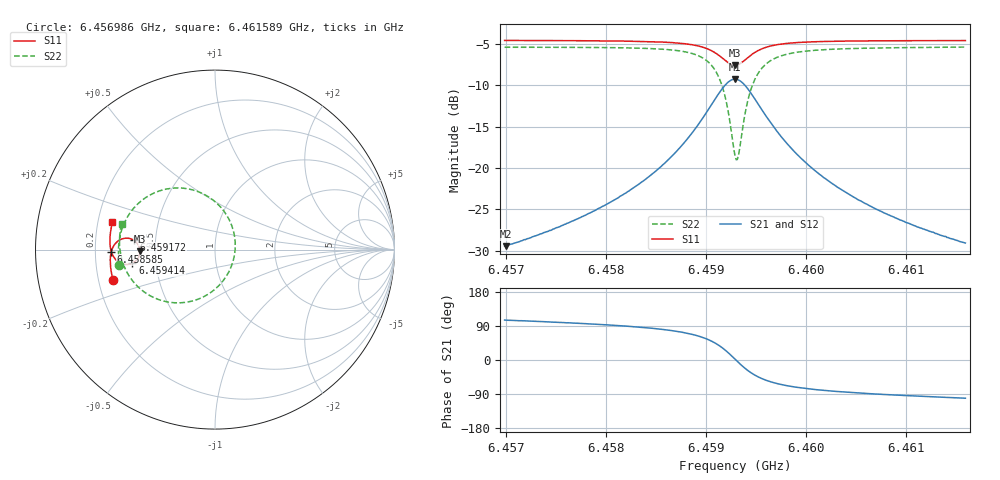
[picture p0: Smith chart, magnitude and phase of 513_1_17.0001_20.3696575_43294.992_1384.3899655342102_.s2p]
#  HZ  S  RI  R  50.00
! Rohde & Schwarz Vector Network Analyzer
! Rohde-Schwarz,ZNB20-2Port,1311601062101988,3.16
! Created: UTC 3/20/2024, 11:15:04 PM
! freq[Hz]  re:S11  im:S11  re:S21  im:S21  re:S12  im:S12  re:S22  im:S22
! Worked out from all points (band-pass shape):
!   401 points, 6.456986 GHz to 6.461589 GHz, reference 50 ohm
!   highest |S21| = -9.23 dB at 6.459287 GHz (marker M1); lowest = -29.5 dB at 6.456997 GHz (marker M2)
!   |S21| within 3 dB of the highest: 6.459058 GHz to 6.459518 GHz (460.3 kHz wide, 0.00713 % of centre)
!   lowest |S11| = -7.6 dB at 6.459287 GHz (marker M3), VSWR 2.44, Z = 20.5 - j0.476 ohm
!   |S11| at or under -10 dB: nowhere
!   |S22| runs from -19.0 to -5.4 dB; largest |S21 - S12| = 0.014
!   S11 on the Smith chart (normalised r, x): 6.456986 GHz: 0.26, -0.14; 6.458585 GHz: 0.27, -0.01; 6.459172 GHz: 0.37, +0.05; 6.459414 GHz: 0.37, -0.07; 6.461589 GHz: 0.26, +0.12
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6.4569858e9  -0.5669 -0.1716  -0.00895 0.0325  -0.00709 0.0324  -0.5321 -0.0843
6.4569974e9  -0.5672 -0.1705  -0.00884 0.0325  -0.00712 0.0327  -0.5323 -0.0829
6.4577569e9  -0.5808 -0.104  -0.00549 0.0505  -0.00293 0.0498  -0.5375 0.00598
6.4581827e9  -0.5836 -0.0614  0.000269 0.0699  0.00361 0.0685  -0.5292 0.0735
6.4585279e9  -0.5798 -0.0201  0.0143 0.0987  0.0183 0.0959  -0.504 0.1512
6.4585855e9  -0.578 -0.0123  0.0186 0.1054  0.0226 0.1024  -0.4957 0.1678
6.4587926e9  -0.5649 0.0198  0.046 0.1379  0.0503 0.1329  -0.444 0.2405
6.4589422e9  -0.5423 0.0461  0.0914 0.1684  0.0947 0.1617  -0.3606 0.3049
6.4590803e9  -0.4986 0.0635  0.1785 0.1848  0.1794 0.1773  -0.2014 0.3436
6.4591724e9  -0.4541 0.0533  0.2683 0.1536  0.2684 0.1476  -0.0349 0.293
6.4592414e9  -0.4251 0.0213  0.3287 0.0818  0.3308 0.0765  0.0805 0.1638
6.4592874e9  -0.4182 -0.00958  0.3451 0.0139  0.3487 0.00703  0.1128 0.0368
6.459322e9  -0.4222 -0.0333  0.3392 -0.0385  0.3432 -0.0476  0.1013 -0.0625
6.459368e9  -0.4377 -0.0592  0.3107 -0.0982  0.3129 -0.1102  0.0436 -0.1756
6.459414e9  -0.4597 -0.0755  0.2686 -0.1394  0.2679 -0.1526  -0.0414 -0.2506
6.4595061e9  -0.5031 -0.0824  0.1839 -0.1705  0.1778 -0.182  -0.2104 -0.2965
6.4596557e9  -0.5469 -0.0618  0.096 -0.1566  0.0876 -0.1628  -0.3781 -0.2472
6.4598168e9  -0.5683 -0.0341  0.0513 -0.1287  0.0437 -0.1315  -0.4584 -0.1751
6.4600585e9  -0.581 0.00135  0.0222 -0.0971  0.0164 -0.0977  -0.5064 -0.0925
6.4604037e9  -0.5855 0.0424  0.00605 -0.0703  0.00205 -0.0698  -0.5278 -0.0132
6.4608295e9  -0.5835 0.0852  -0.00151 -0.0519  -0.00438 -0.051  -0.532 0.0548
6.461589e9  -0.5712 0.1524  -0.00661 -0.0346  -0.00822 -0.0336  -0.5204 0.1445
